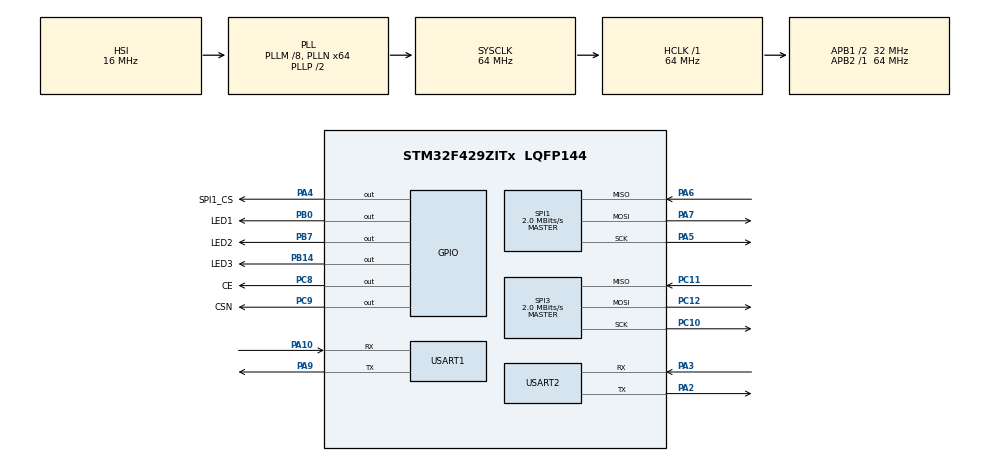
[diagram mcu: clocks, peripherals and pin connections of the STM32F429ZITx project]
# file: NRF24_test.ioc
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Mcu.Family=STM32F4
Mcu.Name=STM32F429ZITx
Mcu.Package=LQFP144
NVIC.PriorityGroup=NVIC_PRIORITYGROUP_4
PA10.Mode=Asynchronous
PA10.Signal=USART1_RX
PA2.Mode=Asynchronous
PA2.Signal=USART2_TX
PA3.Mode=Asynchronous
PA3.Signal=USART2_RX
PA4.GPIO_Label=SPI1_CS
PA4.Signal=GPIO_Output
PA5.Mode=Full_Duplex_Master
PA5.Signal=SPI1_SCK
PA6.Mode=Full_Duplex_Master
PA6.Signal=SPI1_MISO
PA7.Mode=Full_Duplex_Master
PA7.Signal=SPI1_MOSI
PA9.Mode=Asynchronous
PA9.Signal=USART1_TX
PB0.GPIO_Label=LED1
PB0.Signal=GPIO_Output
PB14.GPIO_Label=LED3
PB14.Signal=GPIO_Output
PB7.GPIO_Label=LED2
PB7.Signal=GPIO_Output
PC10.Mode=Full_Duplex_Master
PC10.Signal=SPI3_SCK
PC11.Mode=Full_Duplex_Master
PC11.Signal=SPI3_MISO
PC12.Mode=Full_Duplex_Master
PC12.Signal=SPI3_MOSI
PC8.GPIO_Label=CE
PC8.GPIO_PuPd=GPIO_PULLUP
PC8.Signal=GPIO_Output
PC9.GPIO_Label=CSN
PC9.GPIO_PuPd=GPIO_PULLUP
PC9.Signal=GPIO_Output
ProjectManager.HeapSize=0x200
ProjectManager.StackSize=0x400
ProjectManager.TargetToolchain=TrueSTUDIO
RCC.48MHZClocksFreq_Value=32000000
RCC.AHBFreq_Value=64000000
RCC.APB1CLKDivider=RCC_HCLK_DIV2
RCC.APB1Freq_Value=32000000
RCC.APB1TimFreq_Value=64000000
RCC.APB2Freq_Value=64000000
RCC.APB2TimFreq_Value=64000000
RCC.CortexFreq_Value=64000000
RCC.HCLKFreq_Value=64000000
RCC.HSE_VALUE=25000000
RCC.HSI_VALUE=16000000
RCC.LSE_VALUE=32768
RCC.PLLM=8
RCC.PLLN=64
RCC.SYSCLKFreq_VALUE=64000000
RCC.SYSCLKSource=RCC_SYSCLKSOURCE_PLLCLK
RCC.VCOOutputFreq_Value=128000000
SPI1.BaudRatePrescaler=SPI_BAUDRATEPRESCALER_32
SPI1.CalculateBaudRate=2.0 MBits/s
SPI1.Direction=SPI_DIRECTION_2LINES
SPI1.Mode=SPI_MODE_MASTER
SPI1.VirtualType=VM_MASTER
SPI3.BaudRatePrescaler=SPI_BAUDRATEPRESCALER_16
SPI3.CalculateBaudRate=2.0 MBits/s
SPI3.Direction=SPI_DIRECTION_2LINES
SPI3.Mode=SPI_MODE_MASTER
SPI3.VirtualType=VM_MASTER
USART1.VirtualMode=VM_ASYNC
USART2.VirtualMode=VM_ASYNC
board=custom

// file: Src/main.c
/* USER CODE BEGIN Header */
/**
  ******************************************************************************
  * @file           : main.c
  * @brief          : Main program body
  ******************************************************************************
  * @attention
  *
  * <h2><center>&copy; Copyright (c) 2019 STMicroelectronics.
  * All rights reserved.</center></h2>
  *
  * This software component is licensed by ST under BSD 3-Clause license,
  * the "License"; You may not use this file except in compliance with the
  * License. You may obtain a copy of the License at:
  *                        opensource.org/licenses/BSD-3-Clause
  *
  ******************************************************************************
  */
/* USER CODE END Header */

#include "main.h"
#include "spi.h"
#include "usart.h"
#include "gpio.h"

/* USER CODE BEGIN Includes */
#include "nRF24L01.h"
#include "MY_NRF24.h"
/* USER CODE END Includes */

/* USER CODE BEGIN PD */
#define RX_MODE
/* USER CODE END PD */

void SystemClock_Config(void);

/* USER CODE BEGIN 0 */
#ifndef RX_MODE
uint64_t TxpipeAddrs = 0xF0F0F0F0D2;
char myTxData[32] = "Hello World form my STM32F429ZI!";
char AckPayload[32];
#else
uint64_t RxpipeAddrs = 0xF0F0F0F0E1;
char myRxData[50];
char myAckPayload[32] = "Ack by STMF4!";
#endif
/* USER CODE END 0 */

int main(void)
{

  /* MCU Configuration--------------------------------------------------------*/

  /* Reset of all peripherals, Initializes the Flash interface and the Systick. */
  HAL_Init();

  /* Configure the system clock */
  SystemClock_Config();

  /* Initialize all configured peripherals */
  MX_GPIO_Init();
  MX_SPI3_Init();
  MX_USART2_UART_Init();
  MX_USART1_UART_Init();
  MX_SPI1_Init();
  /* USER CODE BEGIN 2 */
  HAL_GPIO_WritePin(LED1_GPIO_Port,LED1_Pin|LED2_Pin|LED3_Pin,SET);
	NRF24_begin(CSN_GPIO_Port, CSN_Pin, CE_Pin, hspi3);
	nrf24_DebugUART_Init(huart2);

#ifndef RX_MODE
	//**** TRANSMIT - ACK ****//
//	NRF24_openReadingPipe(1,ADRESNADAWCZY);
	NRF24_openWritingPipe(TxpipeAddrs);
	NRF24_setPALevel(RF24_PA_0dB);
	NRF24_setDataRate(RF24_250KBPS);
	NRF24_setCRCLength(RF24_CRC_16);
	NRF24_setRetries(15, 15);
	NRF24_setChannel(120);

	NRF24_setPayloadSize(32);
//	NRF24_setAutoAck(false);

	NRF24_stopListening();

//	NRF24_enableDynamicPayloads();
//	NRF24_enableAckPayload();
#else

	NRF24_setChannel(125);
	NRF24_setPayloadSize(32);
	NRF24_openReadingPipe(0, RxpipeAddrs);
	NRF24_setPALevel(RF24_PA_0dB);
	NRF24_setRetries(15, 15);
	NRF24_setDataRate(RF24_250KBPS);
	NRF24_setCRCLength(RF24_CRC_16);

	NRF24_startListening();

#endif

printRadioSettings();

//uint8_t datatx[] =  {0,1,2,3,4,5,6,7,8,9,10,11,12,13,14,15};
//uint8_t datarx;

  /* USER CODE END 2 */

  /* Infinite loop */
  while (1)
  {

    /* USER CODE BEGIN 3 */
#ifndef RX_MODE
	if (NRF24_write(myTxData, 32)) {
//		NRF24_read(AckPayload, 32);
		HAL_UART_Transmit(&huart2,
				(uint8_t *) "Transmitted Successfully\r\n",
				strlen("Transmitted Successfully\r\n"), 10);
		HAL_GPIO_TogglePin(LED1_GPIO_Port,LED2_Pin);
		HAL_Delay(50);
		HAL_GPIO_TogglePin(LED1_GPIO_Port,LED2_Pin);
		HAL_Delay(50);
//		char myDataack[80];
//		sprintf(myDataack, "AckPayload:  %s \r\n", AckPayload);
//		HAL_UART_Transmit(&huart2, (uint8_t *) myDataack, strlen(myDataack),
//				10);
	}
	HAL_Delay(1000);
#else
	if(NRF24_available())
	{
		NRF24_read(myRxData, 32);
		NRF24_writeAckPayload(1, myAckPayload, 32);
		myRxData[32] = '\r'; myRxData[32+1] = '\n';
		HAL_UART_Transmit(&huart2, (uint8_t *)myRxData, 32+2, 10);
	}
#endif
/*
 * only for test interface
 */
//	  HAL_GPIO_WritePin(SPI1_CS_GPIO_Port,SPI1_CS_Pin,RESET);
//	  HAL_SPI_Transmit(&hspi1,(uint8_t*)datatx,sizeof(datatx),10);
//	  HAL_GPIO_WritePin(SPI1_CS_GPIO_Port,SPI1_CS_Pin,SET);
//	  for(uint8_t i=0x0;i<16;i++)
//	  {
//
//	  	  HAL_GPIO_WritePin(nrf_CSN_PORT,nrf_CSN_PIN,RESET);
//	  	  HAL_SPI_Transmit(&hspi3, &i,1,10);
//	  	  HAL_GPIO_WritePin(nrf_CSN_PORT,nrf_CSN_PIN,SET);
//	  }
  }

  /* USER CODE END 3 */
}

void SystemClock_Config(void)
{
  RCC_OscInitTypeDef RCC_OscInitStruct = {0};
  RCC_ClkInitTypeDef RCC_ClkInitStruct = {0};

  /** Configure the main internal regulator output voltage
  */
  __HAL_RCC_PWR_CLK_ENABLE();
  __HAL_PWR_VOLTAGESCALING_CONFIG(PWR_REGULATOR_VOLTAGE_SCALE3);
  /** Initializes the CPU, AHB and APB busses clocks
  */
  RCC_OscInitStruct.OscillatorType = RCC_OSCILLATORTYPE_HSI;
  RCC_OscInitStruct.HSIState = RCC_HSI_ON;
  RCC_OscInitStruct.HSICalibrationValue = RCC_HSICALIBRATION_DEFAULT;
  RCC_OscInitStruct.PLL.PLLState = RCC_PLL_ON;
  RCC_OscInitStruct.PLL.PLLSource = RCC_PLLSOURCE_HSI;
  RCC_OscInitStruct.PLL.PLLM = 8;
  RCC_OscInitStruct.PLL.PLLN = 64;
  RCC_OscInitStruct.PLL.PLLP = RCC_PLLP_DIV2;
  RCC_OscInitStruct.PLL.PLLQ = 4;
  if (HAL_RCC_OscConfig(&RCC_OscInitStruct) != HAL_OK)
  {
    Error_Handler();
  }
  /** Initializes the CPU, AHB and APB busses clocks
  */
  RCC_ClkInitStruct.ClockType = RCC_CLOCKTYPE_HCLK|RCC_CLOCKTYPE_SYSCLK
                              |RCC_CLOCKTYPE_PCLK1|RCC_CLOCKTYPE_PCLK2;
  RCC_ClkInitStruct.SYSCLKSource = RCC_SYSCLKSOURCE_PLLCLK;
  RCC_ClkInitStruct.AHBCLKDivider = RCC_SYSCLK_DIV1;
  RCC_ClkInitStruct.APB1CLKDivider = RCC_HCLK_DIV2;
  RCC_ClkInitStruct.APB2CLKDivider = RCC_HCLK_DIV1;

  if (HAL_RCC_ClockConfig(&RCC_ClkInitStruct, FLASH_LATENCY_2) != HAL_OK)
  {
    Error_Handler();
  }
}

void Error_Handler(void)
{
}

/************************ (C) COPYRIGHT STMicroelectronics *****END OF FILE****/
